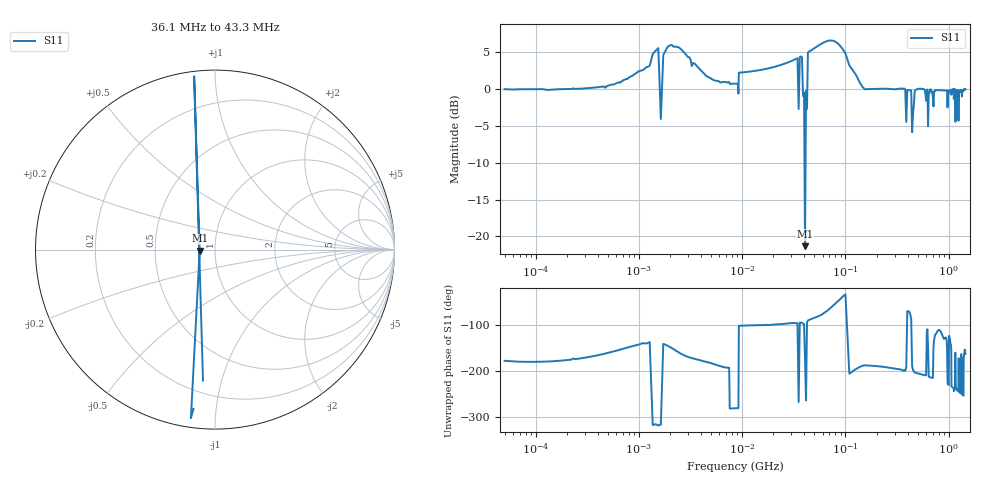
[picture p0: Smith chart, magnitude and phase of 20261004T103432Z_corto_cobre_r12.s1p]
! piloto_corto / corto_cobre / r12
# HZ S RI R 50
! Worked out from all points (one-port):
!   501 points, 50 kHz to 1.45 GHz, reference 50 ohm
!   lowest |S11| = -21.3 dB at 40.6 MHz (marker M1), VSWR 1.19, Z = 42.1 - j0.531 ohm
!   |S11| at or under -10 dB: 40.11 MHz to 41.08 MHz (972.4 kHz wide, 2.4 % of centre)
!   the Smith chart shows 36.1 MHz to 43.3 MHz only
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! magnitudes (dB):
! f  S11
! 50 kHz  0.0
! 183 kHz  0.0
! 658 kHz  0.9
! 2.44 MHz  5.6
! 4.6 MHz  1.7
! 8.56 MHz  0.7
! 9.01 MHz  0.7
! 9.46 MHz  2.2
! 31.6 MHz  4.0
! 37.9 MHz  4.3
! 38.8 MHz  -1.0
! 40.6 MHz  -21.3
! 42.4 MHz  -2.7
! 43.3 MHz  5.0
! 45.1 MHz  5.1
! 77.5 MHz  6.5
! 118 MHz  2.5
! 163 MHz  0.0
! 406 MHz  -0.1
! 415 MHz  -0.1
! 460 MHz  -2.0
! 496 MHz  0.0
! 622 MHz  -0.1
! 1.135 GHz  0.0
! 1.162 GHz  -4.4
! 1.22 GHz  -0.2
! 1.252 GHz  -1.6
! 1.45 GHz  0.0
